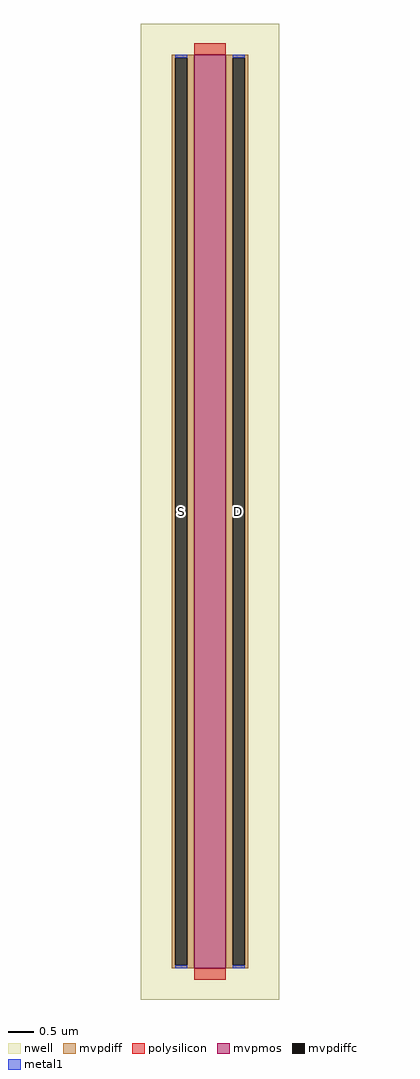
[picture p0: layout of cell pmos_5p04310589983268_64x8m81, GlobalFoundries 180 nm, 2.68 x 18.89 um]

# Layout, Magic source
magic
tech gf180mcuA
magscale 1 10
<< nwell >>
rect -208 -120 328 3658
<< mvpmos >>
rect 0 0 120 3538
<< mvpdiff >>
rect -88 3525 0 3538
rect -88 13 -75 3525
rect -29 13 0 3525
rect -88 0 0 13
rect 120 3525 208 3538
rect 120 13 149 3525
rect 195 13 208 3525
rect 120 0 208 13
<< mvpdiffc >>
rect -75 13 -29 3525
rect 149 13 195 3525
<< polysilicon >>
rect 0 3538 120 3582
rect 0 -44 120 0
<< metal1 >>
rect -75 3525 -29 3538
rect -75 0 -29 13
rect 149 3525 195 3538
rect 149 0 195 13
<< labels >>
flabel metal1 s -52 1769 -52 1769 0 FreeSans 400 0 0 0 S
flabel metal1 s 172 1769 172 1769 0 FreeSans 400 0 0 0 D
<< properties >>
string GDS_END 15740
string GDS_FILE $PDKPATH/libs.ref/gf180mcu_fd_ip_sram/gds/gf180mcu_fd_ip_sram__sram64x8m8wm1.gds
string GDS_START 10300
<< end >>
